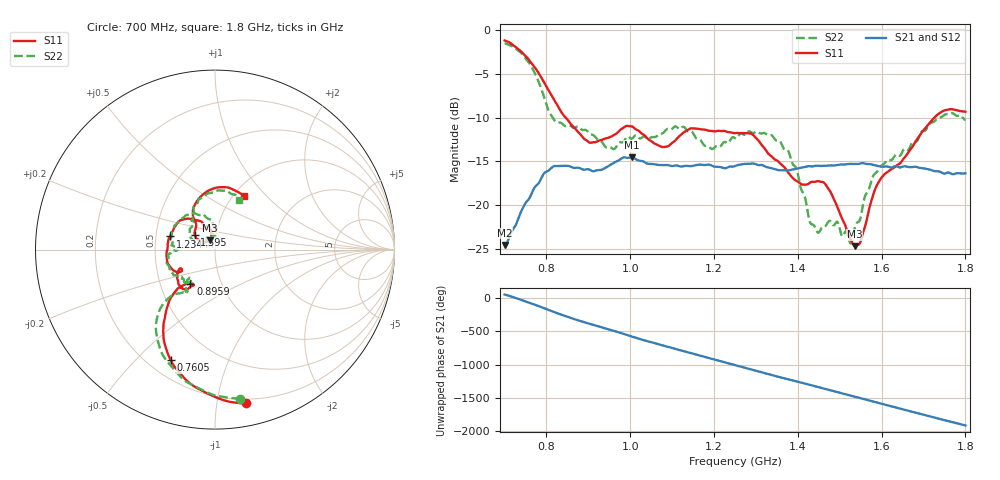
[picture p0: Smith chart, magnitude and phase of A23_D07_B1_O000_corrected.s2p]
! Created with skrf 1.9.0 (http://scikit-rf.org).
# Hz S RI R 50.0
!freq ReS11 ImS11 ReS21 ImS21 ReS12 ImS12 ReS22 ImS22
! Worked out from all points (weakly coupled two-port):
!   1601 points, 700 MHz to 1.8 GHz, reference 50 ohm
!   highest |S21| = -14.54 dB at 1.004 GHz (marker M1); lowest = -24.6 dB at 700 MHz (marker M2)
!   lowest |S11| = -24.7 dB at 1.536 GHz (marker M3), VSWR 1.12, Z = 47.2 + j4.89 ohm
!   |S11| at or under -10 dB: 845.7 MHz to 1.726 GHz (880.3 MHz wide, 68.5 % of centre)
!   |S22| runs from -24.4 to -1.5 dB; largest |S21 - S12| = 0.0036
!   S11 on the Smith chart (normalised r, x): 700 MHz: 0.17, -1.21; 760.5 MHz: 0.29, -0.64; 895.9 MHz: 0.71, -0.28; 1.234 GHz: 0.59, +0.09; 1.595 GHz: 0.79, +0.13; 1.8 GHz: 1.12, +0.76
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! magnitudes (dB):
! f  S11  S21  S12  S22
! 700 MHz  -1.2  -24.6  -24.4  -1.5
! 760.5 MHz  -3.6  -19.1  -19.0  -3.9
! 818.9 MHz  -8.0  -15.6  -15.7  -10.3
! 883.6 MHz  -12.1  -15.9  -15.8  -11.4
! 895.9 MHz  -12.6  -15.9  -16.0  -11.5
! 958.5 MHz  -12.1  -15.2  -15.2  -13.6
! 1.004 GHz  -11.0  -14.5  -14.7  -12.4
! 1.067 GHz  -13.2  -15.4  -15.4  -12.0
! 1.145 GHz  -11.2  -15.6  -15.6  -11.6
! 1.194 GHz  -11.5  -15.5  -15.4  -13.6
! 1.234 GHz  -11.7  -15.7  -15.7  -12.9
! 1.25 GHz  -11.8  -15.6  -15.5  -12.4
! 1.357 GHz  -15.2  -16.0  -16.0  -12.7
! 1.396 GHz  -17.2  -15.9  -15.9  -15.7
! 1.434 GHz  -17.4  -15.6  -15.6  -22.2
! 1.471 GHz  -18.0  -15.5  -15.5  -22.1
! 1.526 GHz  -23.9  -15.3  -15.3  -24.4
! 1.536 GHz  -24.7  -15.3  -15.3  -22.7
! 1.595 GHz  -17.2  -15.6  -15.6  -15.7
! 1.617 GHz  -16.1  -15.6  -15.6  -14.8
! 1.735 GHz  -9.6  -16.2  -16.2  -10.1
! 1.8 GHz  -9.3  -16.4  -16.4  -10.2
